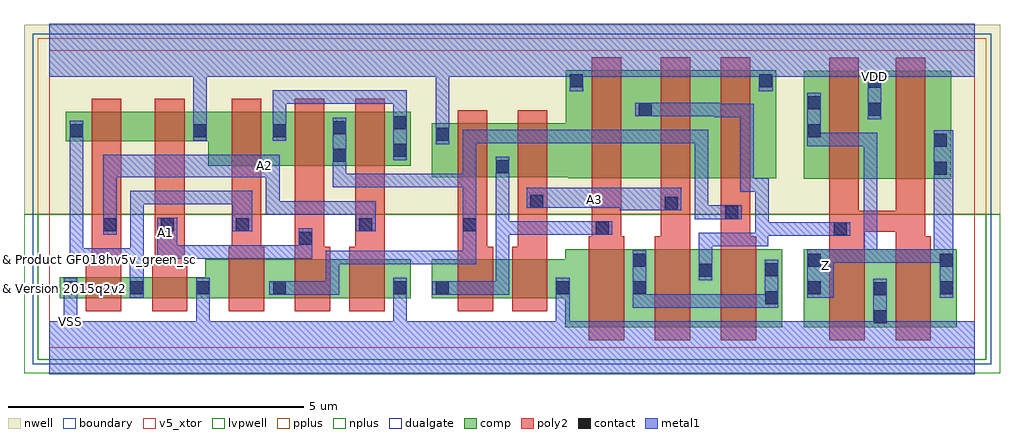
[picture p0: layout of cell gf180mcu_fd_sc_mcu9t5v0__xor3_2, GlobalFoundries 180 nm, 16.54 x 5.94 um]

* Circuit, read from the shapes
.subckt gf180mcu_fd_sc_mcu9t5v0__xor3_2 A1 A2 A3 VDD VSS Z
XM1 n1 A2 VSS VSUBS nfet_05v0 w=0.36u l=0.6u
XM2 VSS A1 n1 VSUBS nfet_05v0 w=0.36u l=0.6u
XM3 n2 n1 VSS VSUBS nfet_05v0 w=0.66u l=0.6u
XM4 n3 A1 n2 VSUBS nfet_05v0 w=0.66u l=0.6u
XM5 VSS A2 n3 VSUBS nfet_05v0 w=0.66u l=0.6u
XM6 n4 n2 n5 VSUBS nfet_05v0 w=0.66u l=0.6u
XM7 VSS A3 n4 VSUBS nfet_05v0 w=0.66u l=0.6u
XM8 n6 n5 VSS VSUBS nfet_05v0 w=1.32u l=0.6u
XM9 n7 A3 n6 VSUBS nfet_05v0 w=1.32u l=0.6u
XM10 n6 n2 n7 VSUBS nfet_05v0 w=1.32u l=0.6u
XM11 VSS n7 Z VSUBS nfet_05v0 w=1.32u l=0.6u m=2
XM12 n8 A2 n1 n9 pfet_05v0 w=0.495u l=0.5u
XM13 VDD A1 n8 n9 pfet_05v0 w=0.495u l=0.5u
XM14 n10 n1 VDD n9 pfet_05v0 w=0.915u l=0.5u
XM15 n2 A1 n10 n9 pfet_05v0 w=0.915u l=0.5u
XM16 n10 A2 n2 n9 pfet_05v0 w=0.915u l=0.5u
XM17 n5 n2 VDD n9 pfet_05v0 w=0.915u l=0.5u
XM18 VDD A3 n5 n9 pfet_05v0 w=0.915u l=0.5u
XM19 n7 n5 VDD n9 pfet_05v0 w=1.83u l=0.5u
XM20 n11 A3 n7 n9 pfet_05v0 w=1.83u l=0.5u
XM21 VDD n2 n11 n9 pfet_05v0 w=1.83u l=0.5u
XM22 VDD n7 Z n9 pfet_05v0 w=1.83u l=0.5u m=2
.ends

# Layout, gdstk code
import gdstk
lib = gdstk.Library(unit=1e-6, precision=1e-09)
def R(c, l, rs):  # rectangles x0, y0, x1, y1
    for r in rs: c.add(gdstk.rectangle(r[:2], r[2:], *l))
def A(c, l, x, y, w, h, nx, ny, dx, dy):  # array of equal rectangles
    R(c, l, [(x+i*dx, y+j*dy, x+i*dx+w, y+j*dy+h) for i in range(nx) for j in range(ny)])
def P(c, l, *ps):  # polygons
    for p in ps: c.add(gdstk.Polygon(p, *l))
boundary = (0, 0)
nwell = (21, 0)
comp = (22, 0)
poly2 = (30, 0)
pplus = (31, 0)
nplus = (32, 0)
contact = (33, 0)
metal1 = (34, 0)
dualgate = (55, 0)
v5_xtor = (112, 1)
lvpwell = (204, 0)

gf180mcu_fd_sc_mcu9t5v0_ = lib.new_cell('gf180mcu_fd_sc_mcu9t5v0__xor3_2')
R(gf180mcu_fd_sc_mcu9t5v0_, boundary, [(0,0,15.68,5.04)])
R(gf180mcu_fd_sc_mcu9t5v0_, nwell, [(-0.43,2.265,16.11,5.47)])
R(gf180mcu_fd_sc_mcu9t5v0_, comp, [(12.78,0.345,15.38,1.665), (12.78,2.865,15.28,4.695)])
P(gf180mcu_fd_sc_mcu9t5v0_, comp, [(0.18,0.835),(0.18,1.195),(2.64,1.195),(2.64,1.495),(6.12,1.495),(6.12,0.835)],
  [(2.69,3.08),(2.69,3.5),(0.28,3.5),(0.28,3.995),(6.12,3.995),(6.12,3.08)],
  [(8.79,2.87),(8.79,2.885),(6.48,2.885),(6.48,3.8),(8.75,3.8),(8.75,4.7),(12.32,4.7),(12.32,2.87)],
  [(8.74,0.345),(8.74,0.835),(6.48,0.835),(6.48,1.495),(8.74,1.495),(8.74,1.665),(12.42,1.665),(12.42,0.345)])
P(gf180mcu_fd_sc_mcu9t5v0_, poly2, [(0.62,0.615),(0.62,1.415),(0.72,1.415),(0.72,4.215),(1.22,4.215),(1.22,0.615)],
  [(1.74,0.615),(1.74,1.415),(1.79,1.415),(1.79,4.215),(2.29,4.215),(2.29,1.415),(2.34,1.415),(2.34,0.615)],
  [(3.04,0.615),(3.04,1.715),(3.09,1.715),(3.09,4.215),(3.59,4.215),(3.59,1.715),(3.64,1.715),(3.64,0.615)],
  [(4.16,0.615),(4.16,4.215),(4.66,4.215),(4.66,1.715),(4.76,1.715),(4.76,0.615)],
  [(5.08,0.615),(5.08,1.715),(5.18,1.715),(5.18,4.215),(5.68,4.215),(5.68,0.615)],
  [(6.92,0.615),(6.92,4.02),(7.42,4.02),(7.42,1.715),(7.52,1.715),(7.52,0.615)],
  [(7.84,0.615),(7.84,1.715),(7.94,1.715),(7.94,4.02),(8.44,4.02),(8.44,0.615)],
  [(9.14,0.125),(9.14,1.885),(9.19,1.885),(9.19,4.92),(9.69,4.92),(9.69,1.885),(9.74,1.885),(9.74,0.125)],
  [(10.26,0.125),(10.26,1.885),(10.36,1.885),(10.36,4.92),(10.86,4.92),(10.86,0.125)],
  [(11.38,0.125),(11.38,4.92),(11.88,4.92),(11.88,1.885),(11.98,1.885),(11.98,0.125)],
  [(13.22,0.125),(13.22,4.915),(13.72,4.915),(13.72,2.325),(14.34,2.325),(14.34,4.915),(14.84,4.915),(14.84,1.885),(14.94,1.885),(14.94,0.125),(14.34,0.125),(14.34,1.965),(13.82,1.965),(13.82,0.125)])
R(gf180mcu_fd_sc_mcu9t5v0_, pplus, [(-0.2,2.265,15.88,5.24)])
R(gf180mcu_fd_sc_mcu9t5v0_, nplus, [(-0.2,-0.2,15.88,2.265)])
A(gf180mcu_fd_sc_mcu9t5v0_, contact, 0.25, 0.905, 0.22, 0.22, 3, 1, 1.12, 0)
R(gf180mcu_fd_sc_mcu9t5v0_, contact, [(13.97,0.415,14.19,0.635), (12.13,0.74,12.35,0.96), (13.97,0.885,14.19,1.105), (3.79,0.905,4.01,1.125), (5.83,0.905,6.05,1.125), (6.55,0.905,6.77,1.125), (8.59,0.905,8.81,1.125), (9.89,0.905,10.11,1.125), (12.85,0.905,13.07,1.125), (15.09,0.905,15.31,1.125), (11.01,1.2,11.23,1.42), (12.13,1.21,12.35,1.43), (9.89,1.375,10.11,1.595), (12.85,1.375,13.07,1.595), (15.09,1.375,15.31,1.595), (4.23,1.745,4.45,1.965), (13.29,1.905,13.51,2.125), (9.26,1.915,9.48,2.135), (0.915,1.975,1.135,2.195), (1.89,1.975,2.11,2.195), (3.16,1.975,3.38,2.195), (5.25,1.975,5.47,2.195), (7.01,1.975,7.23,2.195), (11.45,2.185,11.67,2.405), (10.43,2.335,10.65,2.555), (8.15,2.375,8.37,2.595), (14.99,2.935,15.21,3.155), (7.57,2.955,7.79,3.175), (4.81,3.15,5.03,3.37), (5.83,3.235,6.05,3.455), (14.99,3.405,15.21,3.625), (6.55,3.51,6.77,3.73), (0.35,3.57,0.57,3.79), (2.44,3.57,2.66,3.79), (3.79,3.57,4.01,3.79), (12.85,3.57,13.07,3.79), (4.81,3.62,5.03,3.84), (5.83,3.705,6.05,3.925), (9.99,3.93,10.21,4.15), (13.87,3.935,14.09,4.155), (12.85,4.04,13.07,4.26), (13.87,4.405,14.09,4.625), (8.82,4.41,9.04,4.63), (12.03,4.41,12.25,4.63)])
P(gf180mcu_fd_sc_mcu9t5v0_, metal1, [(1.365,0.845),(1.365,1.455),(0.345,1.455),(0.345,3.85),(0.575,3.85),(0.575,1.685),(1.37,1.685),(1.37,2.66),(3.44,2.66),(3.44,1.97),(3.1,1.97),(3.1,2.43),(1.6,2.43),(1.6,0.845)],
  [(1.83,1.51),(1.83,2.2),(2.17,2.2),(2.17,1.74),(4.225,1.74),(4.225,2.025),(4.455,2.025),(4.455,1.51)],
  [(0.91,1.915),(0.91,3.27),(3.9,3.27),(3.9,2.485),(5.53,2.485),(5.53,1.97),(5.19,1.97),(5.19,2.255),(3.67,2.255),(3.67,2.89),(1.14,2.89),(1.14,1.915)],
  [(5.825,3.175),(5.825,4.13),(4.015,4.13),(4.015,3.51),(3.785,3.51),(3.785,4.36),(6.055,4.36),(6.055,3.175)],
  [(6.49,0.9),(6.49,1.13),(7.565,1.13),(7.565,3.235),(7.795,3.235),(7.795,2.14),(9.54,2.14),(9.54,1.91),(7.795,1.91),(7.795,0.9)],
  [(9.67,2.33),(9.67,2.37),(8.09,2.37),(8.09,2.71),(10.71,2.71),(10.71,2.33)],
  [(3.73,0.9),(3.73,1.13),(4.685,1.13),(4.685,1.645),(7.005,1.645),(7.005,2.715),(4.805,2.715),(4.805,3.9),(5.035,3.9),(5.035,2.945),(7.005,2.945),(7.005,3.695),(11.17,3.695),(11.17,2.41),(11.73,2.41),(11.73,2.18),(10.94,2.18),(10.94,3.465),(7.235,3.465),(7.235,1.415),(4.915,1.415),(4.915,0.9)],
  [(9.885,0.68),(9.885,1.655),(10.115,1.655),(10.115,0.91),(12.125,0.91),(12.125,1.49),(12.355,1.49),(12.355,0.68)],
  [(11.005,1.14),(11.005,1.95),(11.96,1.95),(11.96,2.64),(11.71,2.64),(11.71,3.905),(11.265,3.905),(11.265,3.925),(9.93,3.925),(9.93,4.155),(11.36,4.155),(11.36,4.135),(11.94,4.135),(11.94,2.87),(12.19,2.87),(12.19,2.13),(13.57,2.13),(13.57,1.9),(12.185,1.9),(12.185,1.72),(11.235,1.72),(11.235,1.14)],
  [(12.845,0.845),(12.845,1.67),(13.8,1.67),(13.8,3.415),(12.845,3.415),(12.845,4.32),(13.075,4.32),(13.075,3.645),(14.03,3.645),(14.03,1.67),(14.985,1.67),(14.985,3.685),(15.315,3.685),(15.315,0.845),(15.085,0.845),(15.085,1.44),(13.29,1.44),(13.29,0.845)],
  [(0,-0.45),(0,0.45),(0.245,0.45),(0.245,1.185),(0.475,1.185),(0.475,0.45),(2.485,0.45),(2.485,1.185),(2.715,1.185),(2.715,0.45),(5.825,0.45),(5.825,1.185),(6.055,1.185),(6.055,0.45),(8.585,0.45),(8.585,1.185),(8.815,1.185),(8.815,0.45),(13.965,0.45),(13.965,1.165),(14.195,1.165),(14.195,0.45),(15.68,0.45),(15.68,-0.45)],
  [(6.545,3.45),(6.545,4.59),(2.665,4.59),(2.665,3.51),(2.435,3.51),(2.435,4.59),(0,4.59),(0,5.49),(15.68,5.49),(15.68,4.59),(14.095,4.59),(14.095,3.875),(13.865,3.875),(13.865,4.59),(12.255,4.59),(12.255,4.35),(12.025,4.35),(12.025,4.59),(9.045,4.59),(9.045,4.35),(8.815,4.35),(8.815,4.59),(6.775,4.59),(6.775,3.45)])
R(gf180mcu_fd_sc_mcu9t5v0_, dualgate, [(-0.28,-0.28,15.96,5.32)])
R(gf180mcu_fd_sc_mcu9t5v0_, v5_xtor, [(0,0,15.68,5.04)])
R(gf180mcu_fd_sc_mcu9t5v0_, lvpwell, [(-0.43,-0.43,16.11,2.265)])
gf180mcu_fd_sc_mcu9t5v0_.add(gdstk.Label('A1', (1.96,1.96), layer=34, texttype=10))
gf180mcu_fd_sc_mcu9t5v0_.add(gdstk.Label('A2', (3.64,3.08), layer=34, texttype=10))
gf180mcu_fd_sc_mcu9t5v0_.add(gdstk.Label('A3', (9.24,2.52), layer=34, texttype=10))
gf180mcu_fd_sc_mcu9t5v0_.add(gdstk.Label('VDD', (13.98,4.59), layer=34, texttype=10))
gf180mcu_fd_sc_mcu9t5v0_.add(gdstk.Label('VSS', (0.36,0.45), layer=34, texttype=10))
gf180mcu_fd_sc_mcu9t5v0_.add(gdstk.Label('Z', (13.16,1.4), layer=34, texttype=10))
gf180mcu_fd_sc_mcu9t5v0_.add(gdstk.Label('& Vendor GLOBALFOUNDRIES', (0,2), layer=63, texttype=63))
gf180mcu_fd_sc_mcu9t5v0_.add(gdstk.Label('& Product GF018hv5v_green_sc9', (0,1.5), layer=63, texttype=63))
gf180mcu_fd_sc_mcu9t5v0_.add(gdstk.Label('& Version 2015q2v2', (0,1), layer=63, texttype=63))
gf180mcu_fd_sc_mcu9t5v0_.add(gdstk.Label('& Metric 1.00', (0,0.5), layer=63, texttype=63))

lib.write_gds('gf180mcu_fd_sc_mcu9t5v0__xor3_2.gds')
